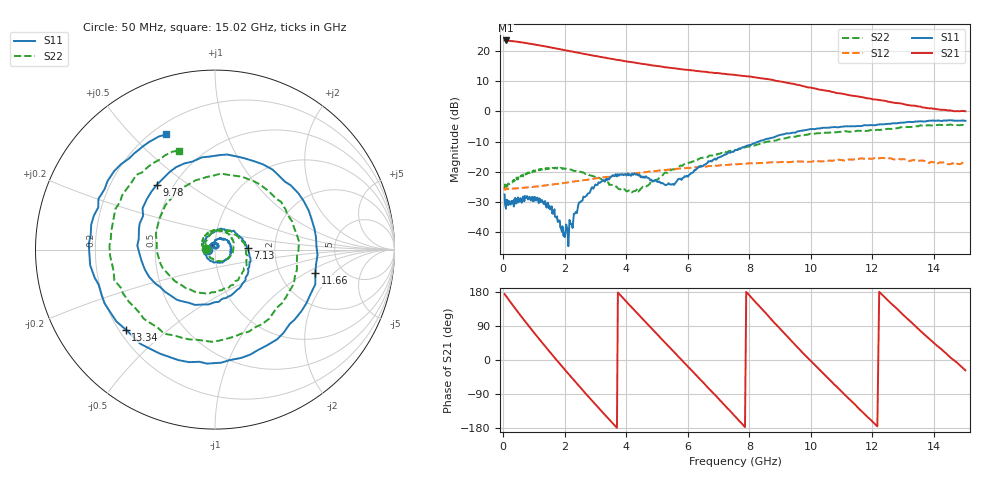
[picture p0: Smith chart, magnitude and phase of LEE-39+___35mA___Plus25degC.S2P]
! Mini-Circuits
! S2P DATA File Format
! Type: MMIC Amplifier
! Model: LEE-39+
! TEST CONDITIONS: INPUT POWER = -25dBm, Icc = 35mA, Vd = 3.61V @Temperature = +25degC
! 401 Frequency points
! S Parameters are in dB deg format
# MHz S DB R 50
!  FREQ  dB(S11)  PHS(S11)  dB(S21)  PHS(S21)  dB(S12)  PHS(S12)  dB(S22)  PHS(S22)
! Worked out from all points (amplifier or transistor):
!   401 points, 50 MHz to 15.02 GHz, reference 50 ohm
!   highest |S21| = 23.5 dB at 80 MHz (marker M1)
!   |S21| within 3 dB of that: start of sweep to 1.891 GHz
!   unconditionally stable (mu >= 1): start of sweep to end of sweep
!   at 1.04 GHz: K = 1.05, MAG = 22.2 dB, |S12| = -25.0 dB
!   at 4.57 GHz: K = 1.13, MAG = 15.8 dB, |S12| = -20.2 dB
!   at 15.02 GHz: K = 1.34, MAG = 5.1 dB, |S12| = -17.1 dB
!   S11 on the Smith chart (normalised r, x): 50 MHz: 0.92, -0.01; 7.13 GHz: 1.45, +0.02; 9.78 GHz: 0.41, +0.38; 11.66 GHz: 3.17, -1.24; 13.34 GHz: 0.23, -0.37; 15.02 GHz: 0.25, +0.63
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50  -27.57 -173.2  23.52 173.8  -25.53 -2.2  -25.99 176.5
80  -31.50 175.5  23.53 170.6  -25.67 -4.5  -24.53 176.7
425  -30.09 144.5  23.14 132.7  -25.51 -23.4  -22.31 158.4
740  -28.73 110.8  22.69 99.6  -25.32 -41.1  -20.73 132.4
1040  -28.51 83.7  22.17 68.7  -24.98 -58.9  -19.94 105.8
1475  -32.04 48.6  21.34 25.6  -24.44 -85.0  -18.80 68.3
1950  -40.39 64.6  20.41 -20.2  -23.83 -114.8  -18.91 31.7
2580  -29.55 108.8  19.17 -79.0  -22.91 -156.0  -20.23 -15.0
3100  -23.53 68.3  18.22 -126.1  -22.14 168.7  -22.01 -53.5
3630  -21.49 30.0  17.22 -173.0  -21.44 131.5  -24.72 -94.9
4360  -20.88 -30.4  16.01 123.3  -20.43 79.3  -25.62 -172.2
5060  -23.25 -110.6  14.99 63.3  -19.65 28.5  -22.19 119.0
5940  -21.67 117.2  13.79 -11.8  -18.84 -37.6  -17.25 46.6
7130  -14.75 2.3  12.50 -113.5  -17.90 -128.7  -13.87 -46.0
7550  -12.85 -36.9  12.06 -149.8  -17.58 -161.3  -12.78 -80.4
8660  -8.96 -134.7  10.58 112.2  -16.95 111.8  -9.97 -172.6
9780  -6.28 132.0  8.29 15.2  -16.63 24.1  -7.89 99.7
10060  -5.86 109.7  7.72 -7.3  -16.61 3.1  -7.48 79.6
11660  -4.82 -13.2  4.68 -136.1  -15.60 -121.2  -6.45 -33.4
12580  -4.13 -82.9  3.10 151.2  -15.53 163.8  -5.82 -97.5
13340  -3.51 -138.1  1.91 93.9  -16.09 105.8  -5.02 -148.6
15020  -3.14 112.9  0.04 -27.3  -17.12 -11.0  -4.62 110.0
